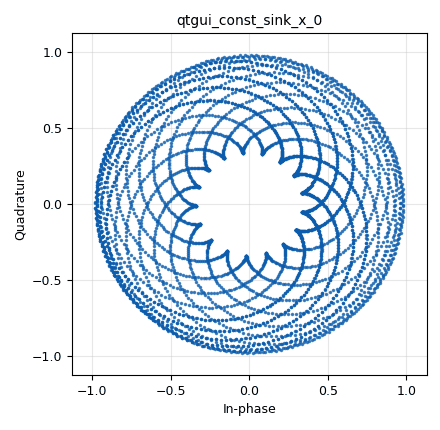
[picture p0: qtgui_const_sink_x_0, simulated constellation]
options:
  parameters:
    generate_options: qt_gui
    id: epicycloid
    output_language: python
  states: {}

blocks:
- name: a
  id: variable_qtgui_range
  parameters:
    gui_hint: 0,0
    start: '1'
    step: '1'
    stop: '20'
    value: '17'
  states: {}
- name: b
  id: variable_qtgui_range
  parameters:
    gui_hint: 1,0
    start: '1'
    step: '1'
    stop: '20'
    value: '16'
  states: {}
- name: frequency1
  id: variable
  parameters:
    value: '200'
  states: {}
- name: frequency2
  id: variable
  parameters:
    value: ((a/b) +1)*frequency1+rotate
  states: {}
- name: rotate
  id: variable_qtgui_range
  parameters:
    gui_hint: 2,0
    start: '0'
    step: '.01'
    stop: '20'
    value: '0.0062'
  states: {}
- name: samp_rate
  id: variable
  parameters:
    value: '48000'
  states: {}
- name: volume
  id: variable_qtgui_range
  parameters:
    gui_hint: 4,0
    start: '0'
    step: '.1'
    stop: '10'
    value: '.7'
  states: {}
- name: analog_agc_xx_0
  id: analog_agc_xx
  parameters:
    gain: '.01'
    max_gain: '10'
    rate: 1/samp_rate
    reference: volume
    type: complex
  states: {}
- name: analog_const_source_x_0_0_1
  id: analog_const_source_x
  parameters:
    const: a+b
    type: float
  states: {}
- name: analog_const_source_x_0_0_1_0
  id: analog_const_source_x
  parameters:
    const: b
    type: float
  states: {}
- name: analog_const_source_x_0_0_1_0_0
  id: analog_const_source_x
  parameters:
    const: b
    type: float
  states: {}
- name: analog_const_source_x_0_0_1_1
  id: analog_const_source_x
  parameters:
    const: a+b
    type: float
  states: {}
- name: analog_sig_source_x_0
  id: analog_sig_source_x
  parameters:
    amp: '1'
    freq: frequency1
    offset: '0'
    phase: '0'
    samp_rate: samp_rate
    type: float
    waveform: analog.GR_COS_WAVE
  states: {}
- name: analog_sig_source_x_0_0
  id: analog_sig_source_x
  parameters:
    amp: '1'
    freq: frequency2
    offset: '0'
    phase: '0'
    samp_rate: samp_rate
    type: float
    waveform: analog.GR_COS_WAVE
  states: {}
- name: audio_sink_1
  id: audio_sink
  parameters:
    num_inputs: '2'
    samp_rate: samp_rate
  states: {}
- name: blocks_complex_to_float_0
  id: blocks_complex_to_float
  parameters: {}
  states: {}
- name: blocks_delay_0
  id: blocks_delay
  parameters:
    delay: int((samp_rate/frequency1)/4)
    type: float
  states: {}
- name: blocks_delay_0_0
  id: blocks_delay
  parameters:
    delay: int((samp_rate/frequency2)/4)
    type: float
  states: {}
- name: blocks_float_to_complex_0
  id: blocks_float_to_complex
  parameters: {}
  states: {}
- name: blocks_multiply_xx_0_0_0_1
  id: blocks_multiply_xx
  parameters:
    type: float
  states: {}
- name: blocks_multiply_xx_0_0_0_1_0
  id: blocks_multiply_xx
  parameters:
    type: float
  states: {}
- name: blocks_multiply_xx_0_0_0_1_0_0
  id: blocks_multiply_xx
  parameters:
    type: float
  states: {}
- name: blocks_multiply_xx_0_0_0_1_1
  id: blocks_multiply_xx
  parameters:
    type: float
  states: {}
- name: blocks_sub_xx_0_0
  id: blocks_sub_xx
  parameters:
    type: float
  states: {}
- name: blocks_sub_xx_0_0_0
  id: blocks_sub_xx
  parameters:
    type: float
  states: {}
- name: blocks_throttle_0
  id: blocks_throttle
  parameters:
    samples_per_second: samp_rate
    type: complex
  states: {}
- name: qtgui_const_sink_x_0
  id: qtgui_const_sink_x
  parameters:
    autoscale: 'True'
    gui_hint: 3,0
    legend: 'False'
    marker1: '-1'
    size: '5000'
    style1: '1'
    type: complex
    update_time: 1/frequency1
  states: {}

connections:
- [analog_agc_xx_0, '0', blocks_complex_to_float_0, '0']
- [analog_agc_xx_0, '0', blocks_throttle_0, '0']
- [analog_const_source_x_0_0_1, '0', blocks_multiply_xx_0_0_0_1, '1']
- [analog_const_source_x_0_0_1_0, '0', blocks_multiply_xx_0_0_0_1_0, '0']
- [analog_const_source_x_0_0_1_0_0, '0', blocks_multiply_xx_0_0_0_1_0_0, '0']
- [analog_const_source_x_0_0_1_1, '0', blocks_multiply_xx_0_0_0_1_1, '1']
- [analog_sig_source_x_0, '0', blocks_delay_0, '0']
- [analog_sig_source_x_0, '0', blocks_multiply_xx_0_0_0_1, '0']
- [analog_sig_source_x_0_0, '0', blocks_delay_0_0, '0']
- [analog_sig_source_x_0_0, '0', blocks_multiply_xx_0_0_0_1_0, '1']
- [blocks_complex_to_float_0, '0', audio_sink_1, '0']
- [blocks_complex_to_float_0, '1', audio_sink_1, '1']
- [blocks_delay_0, '0', blocks_multiply_xx_0_0_0_1_1, '0']
- [blocks_delay_0_0, '0', blocks_multiply_xx_0_0_0_1_0_0, '1']
- [blocks_float_to_complex_0, '0', analog_agc_xx_0, '0']
- [blocks_multiply_xx_0_0_0_1, '0', blocks_sub_xx_0_0_0, '0']
- [blocks_multiply_xx_0_0_0_1_0, '0', blocks_sub_xx_0_0_0, '1']
- [blocks_multiply_xx_0_0_0_1_0_0, '0', blocks_sub_xx_0_0, '1']
- [blocks_multiply_xx_0_0_0_1_1, '0', blocks_sub_xx_0_0, '0']
- [blocks_sub_xx_0_0, '0', blocks_float_to_complex_0, '1']
- [blocks_sub_xx_0_0_0, '0', blocks_float_to_complex_0, '0']
- [blocks_throttle_0, '0', qtgui_const_sink_x_0, '0']

metadata:
  file_format: 1
